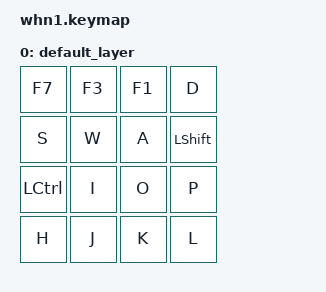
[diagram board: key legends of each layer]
#include <behaviors.dtsi>
#include <dt-bindings/zmk/keys.h>

/ {
    keymap {
        compatible = "zmk,keymap";

        default_layer {
            bindings = <
                &kp F7  &kp F3  &kp F1  &kp D
                &kp S   &kp W   &kp A   &kp LSHIFT    /* 功能键1映射为左Shift */
                &kp LCTRL        &kp I   &kp O   &kp P   /* 功能键2映射为左Ctrl */
                &kp H   &kp J   &kp K   &kp L
            >;
        };
    };
};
